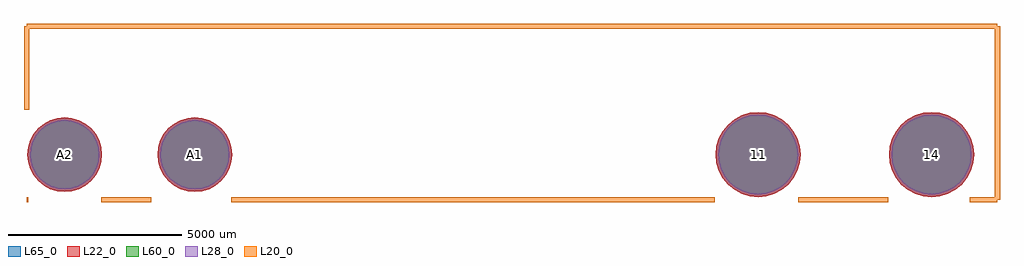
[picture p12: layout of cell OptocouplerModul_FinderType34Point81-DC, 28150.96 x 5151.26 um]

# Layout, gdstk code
import gdstk
lib = gdstk.Library(unit=1e-6, precision=1e-09)
def P(c, l, *ps):  # polygons
    for p in ps: c.add(gdstk.Polygon(p, *l))
L20_0 = (20, 0)
L22_0 = (22, 0)
L28_0 = (28, 0)
L60_0 = (60, 0)
L65_0 = (65, 0)

optocouplermodul_findert = lib.new_cell('OptocouplerModul_FinderType34Point81-DC')
P(optocouplermodul_findert, L22_0, [(-11826.17,0),(-11846.816,209.623),(-11907.961,411.19),(-12007.254,596.955),(-12140.881,759.779),(-12303.705,893.406),(-12489.47,992.699),(-12691.037,1053.844),(-12900.66,1074.49),(-13110.283,1053.844),(-13311.85,992.699),(-13497.615,893.406),(-13660.439,759.779),(-13794.066,596.955),(-13893.359,411.19),(-13954.504,209.623),(-13975.15,0),(-13954.504,-209.623),(-13893.359,-411.19),(-13794.066,-596.955),(-13660.439,-759.779),(-13497.615,-893.406),(-13311.85,-992.699),(-13110.283,-1053.844),(-12900.66,-1074.49),(-12691.037,-1053.844),(-12489.47,-992.699),(-12303.705,-893.406),(-12140.881,-759.779),(-12007.254,-596.955),(-11907.961,-411.19),(-11846.816,-209.623)],
  [(-8074.59,0),(-8095.236,209.623),(-8156.381,411.19),(-8255.674,596.955),(-8389.301,759.779),(-8552.125,893.406),(-8737.89,992.699),(-8939.457,1053.844),(-9149.08,1074.49),(-9358.703,1053.844),(-9560.27,992.699),(-9746.035,893.406),(-9908.859,759.779),(-10042.486,596.955),(-10141.779,411.19),(-10202.924,209.623),(-10223.57,0),(-10202.924,-209.623),(-10141.779,-411.19),(-10042.486,-596.955),(-9908.859,-759.779),(-9746.035,-893.406),(-9560.27,-992.699),(-9358.703,-1053.844),(-9149.08,-1074.49),(-8939.457,-1053.844),(-8737.89,-992.699),(-8552.125,-893.406),(-8389.301,-759.779),(-8255.674,-596.955),(-8156.381,-411.19),(-8095.236,-209.623)],
  [(8324.92,0),(8301.37,239.107),(8231.625,469.024),(8118.366,680.918),(7965.944,866.644),(7780.218,1019.066),(7568.324,1132.325),(7338.407,1202.07),(7099.3,1225.62),(6860.193,1202.07),(6630.276,1132.325),(6418.382,1019.066),(6232.656,866.644),(6080.234,680.918),(5966.975,469.024),(5897.23,239.107),(5873.68,0),(5897.23,-239.107),(5966.975,-469.024),(6080.234,-680.918),(6232.656,-866.644),(6418.382,-1019.066),(6630.276,-1132.325),(6860.193,-1202.07),(7099.3,-1225.62),(7338.407,-1202.07),(7568.324,-1132.325),(7780.218,-1019.066),(7965.944,-866.644),(8118.366,-680.918),(8231.625,-469.024),(8301.37,-239.107)],
  [(13326.18,0),(13302.63,239.107),(13232.885,469.024),(13119.626,680.918),(12967.204,866.644),(12781.478,1019.066),(12569.584,1132.325),(12339.667,1202.07),(12100.56,1225.62),(11861.453,1202.07),(11631.536,1132.325),(11419.642,1019.066),(11233.916,866.644),(11081.494,680.918),(10968.235,469.024),(10898.49,239.107),(10874.94,0),(10898.49,-239.107),(10968.235,-469.024),(11081.494,-680.918),(11233.916,-866.644),(11419.642,-1019.066),(11631.536,-1132.325),(11861.453,-1202.07),(12100.56,-1225.62),(12339.667,-1202.07),(12569.584,-1132.325),(12781.478,-1019.066),(12967.204,-866.644),(13119.626,-680.918),(13232.885,-469.024),(13302.63,-239.107)])
P(optocouplermodul_findert, L28_0, [(-11901.17,0),(-11920.375,194.991),(-11977.252,382.488),(-12069.614,555.287),(-12193.914,706.746),(-12345.373,831.046),(-12518.172,923.408),(-12705.669,980.285),(-12900.66,999.49),(-13095.651,980.285),(-13283.148,923.408),(-13455.947,831.046),(-13607.406,706.746),(-13731.706,555.287),(-13824.068,382.488),(-13880.945,194.991),(-13900.15,0),(-13880.945,-194.991),(-13824.068,-382.488),(-13731.706,-555.287),(-13607.406,-706.746),(-13455.947,-831.046),(-13283.148,-923.408),(-13095.651,-980.285),(-12900.66,-999.49),(-12705.669,-980.285),(-12518.172,-923.408),(-12345.373,-831.046),(-12193.914,-706.746),(-12069.614,-555.287),(-11977.252,-382.488),(-11920.375,-194.991)],
  [(-8149.59,0),(-8168.795,194.991),(-8225.672,382.488),(-8318.034,555.287),(-8442.334,706.746),(-8593.793,831.046),(-8766.592,923.408),(-8954.089,980.285),(-9149.08,999.49),(-9344.071,980.285),(-9531.568,923.408),(-9704.367,831.046),(-9855.826,706.746),(-9980.126,555.287),(-10072.488,382.488),(-10129.365,194.991),(-10148.57,0),(-10129.365,-194.991),(-10072.488,-382.488),(-9980.126,-555.287),(-9855.826,-706.746),(-9704.367,-831.046),(-9531.568,-923.408),(-9344.071,-980.285),(-9149.08,-999.49),(-8954.089,-980.285),(-8766.592,-923.408),(-8593.793,-831.046),(-8442.334,-706.746),(-8318.034,-555.287),(-8225.672,-382.488),(-8168.795,-194.991)],
  [(8249.92,0),(8227.811,224.475),(8162.334,440.323),(8056.006,639.25),(7912.911,813.611),(7738.55,956.706),(7539.623,1063.034),(7323.775,1128.511),(7099.3,1150.62),(6874.825,1128.511),(6658.977,1063.034),(6460.05,956.706),(6285.689,813.611),(6142.594,639.25),(6036.266,440.323),(5970.789,224.475),(5948.68,0),(5970.789,-224.475),(6036.266,-440.323),(6142.594,-639.25),(6285.689,-813.611),(6460.05,-956.706),(6658.977,-1063.034),(6874.825,-1128.511),(7099.3,-1150.62),(7323.775,-1128.511),(7539.623,-1063.034),(7738.55,-956.706),(7912.911,-813.611),(8056.006,-639.25),(8162.334,-440.323),(8227.811,-224.475)],
  [(13251.18,0),(13229.071,224.475),(13163.594,440.323),(13057.266,639.25),(12914.171,813.611),(12739.81,956.706),(12540.883,1063.034),(12325.035,1128.511),(12100.56,1150.62),(11876.085,1128.511),(11660.237,1063.034),(11461.31,956.706),(11286.949,813.611),(11143.854,639.25),(11037.526,440.323),(10972.049,224.475),(10949.94,0),(10972.049,-224.475),(11037.526,-440.323),(11143.854,-639.25),(11286.949,-813.611),(11461.31,-956.706),(11660.237,-1063.034),(11876.085,-1128.511),(12100.56,-1150.62),(12325.035,-1128.511),(12540.883,-1063.034),(12739.81,-956.706),(12914.171,-813.611),(13057.266,-639.25),(13163.594,-440.323),(13229.071,-224.475)])
P(optocouplermodul_findert, L60_0, [(-11901.17,0),(-11920.375,194.991),(-11977.252,382.488),(-12069.614,555.287),(-12193.914,706.746),(-12345.373,831.046),(-12518.172,923.408),(-12705.669,980.285),(-12900.66,999.49),(-13095.651,980.285),(-13283.148,923.408),(-13455.947,831.046),(-13607.406,706.746),(-13731.706,555.287),(-13824.068,382.488),(-13880.945,194.991),(-13900.15,0),(-13880.945,-194.991),(-13824.068,-382.488),(-13731.706,-555.287),(-13607.406,-706.746),(-13455.947,-831.046),(-13283.148,-923.408),(-13095.651,-980.285),(-12900.66,-999.49),(-12705.669,-980.285),(-12518.172,-923.408),(-12345.373,-831.046),(-12193.914,-706.746),(-12069.614,-555.287),(-11977.252,-382.488),(-11920.375,-194.991)],
  [(-8149.59,0),(-8168.795,194.991),(-8225.672,382.488),(-8318.034,555.287),(-8442.334,706.746),(-8593.793,831.046),(-8766.592,923.408),(-8954.089,980.285),(-9149.08,999.49),(-9344.071,980.285),(-9531.568,923.408),(-9704.367,831.046),(-9855.826,706.746),(-9980.126,555.287),(-10072.488,382.488),(-10129.365,194.991),(-10148.57,0),(-10129.365,-194.991),(-10072.488,-382.488),(-9980.126,-555.287),(-9855.826,-706.746),(-9704.367,-831.046),(-9531.568,-923.408),(-9344.071,-980.285),(-9149.08,-999.49),(-8954.089,-980.285),(-8766.592,-923.408),(-8593.793,-831.046),(-8442.334,-706.746),(-8318.034,-555.287),(-8225.672,-382.488),(-8168.795,-194.991)],
  [(8249.92,0),(8227.811,224.475),(8162.334,440.323),(8056.006,639.25),(7912.911,813.611),(7738.55,956.706),(7539.623,1063.034),(7323.775,1128.511),(7099.3,1150.62),(6874.825,1128.511),(6658.977,1063.034),(6460.05,956.706),(6285.689,813.611),(6142.594,639.25),(6036.266,440.323),(5970.789,224.475),(5948.68,0),(5970.789,-224.475),(6036.266,-440.323),(6142.594,-639.25),(6285.689,-813.611),(6460.05,-956.706),(6658.977,-1063.034),(6874.825,-1128.511),(7099.3,-1150.62),(7323.775,-1128.511),(7539.623,-1063.034),(7738.55,-956.706),(7912.911,-813.611),(8056.006,-639.25),(8162.334,-440.323),(8227.811,-224.475)],
  [(13251.18,0),(13229.071,224.475),(13163.594,440.323),(13057.266,639.25),(12914.171,813.611),(12739.81,956.706),(12540.883,1063.034),(12325.035,1128.511),(12100.56,1150.62),(11876.085,1128.511),(11660.237,1063.034),(11461.31,956.706),(11286.949,813.611),(11143.854,639.25),(11037.526,440.323),(10972.049,224.475),(10949.94,0),(10972.049,-224.475),(11037.526,-440.323),(11143.854,-639.25),(11286.949,-813.611),(11461.31,-956.706),(11660.237,-1063.034),(11876.085,-1128.511),(12100.56,-1150.62),(12325.035,-1128.511),(12540.883,-1063.034),(12739.81,-956.706),(12914.171,-813.611),(13057.266,-639.25),(13163.594,-440.323),(13229.071,-224.475)])
P(optocouplermodul_findert, L65_0, [(-11826.17,0),(-11846.816,209.623),(-11907.961,411.19),(-12007.254,596.955),(-12140.881,759.779),(-12303.705,893.406),(-12489.47,992.699),(-12691.037,1053.844),(-12900.66,1074.49),(-13110.283,1053.844),(-13311.85,992.699),(-13497.615,893.406),(-13660.439,759.779),(-13794.066,596.955),(-13893.359,411.19),(-13954.504,209.623),(-13975.15,0),(-13954.504,-209.623),(-13893.359,-411.19),(-13794.066,-596.955),(-13660.439,-759.779),(-13497.615,-893.406),(-13311.85,-992.699),(-13110.283,-1053.844),(-12900.66,-1074.49),(-12691.037,-1053.844),(-12489.47,-992.699),(-12303.705,-893.406),(-12140.881,-759.779),(-12007.254,-596.955),(-11907.961,-411.19),(-11846.816,-209.623)],
  [(-8074.59,0),(-8095.236,209.623),(-8156.381,411.19),(-8255.674,596.955),(-8389.301,759.779),(-8552.125,893.406),(-8737.89,992.699),(-8939.457,1053.844),(-9149.08,1074.49),(-9358.703,1053.844),(-9560.27,992.699),(-9746.035,893.406),(-9908.859,759.779),(-10042.486,596.955),(-10141.779,411.19),(-10202.924,209.623),(-10223.57,0),(-10202.924,-209.623),(-10141.779,-411.19),(-10042.486,-596.955),(-9908.859,-759.779),(-9746.035,-893.406),(-9560.27,-992.699),(-9358.703,-1053.844),(-9149.08,-1074.49),(-8939.457,-1053.844),(-8737.89,-992.699),(-8552.125,-893.406),(-8389.301,-759.779),(-8255.674,-596.955),(-8156.381,-411.19),(-8095.236,-209.623)],
  [(8324.92,0),(8301.37,239.107),(8231.625,469.024),(8118.366,680.918),(7965.944,866.644),(7780.218,1019.066),(7568.324,1132.325),(7338.407,1202.07),(7099.3,1225.62),(6860.193,1202.07),(6630.276,1132.325),(6418.382,1019.066),(6232.656,866.644),(6080.234,680.918),(5966.975,469.024),(5897.23,239.107),(5873.68,0),(5897.23,-239.107),(5966.975,-469.024),(6080.234,-680.918),(6232.656,-866.644),(6418.382,-1019.066),(6630.276,-1132.325),(6860.193,-1202.07),(7099.3,-1225.62),(7338.407,-1202.07),(7568.324,-1132.325),(7780.218,-1019.066),(7965.944,-866.644),(8118.366,-680.918),(8231.625,-469.024),(8301.37,-239.107)],
  [(13326.18,0),(13302.63,239.107),(13232.885,469.024),(13119.626,680.918),(12967.204,866.644),(12781.478,1019.066),(12569.584,1132.325),(12339.667,1202.07),(12100.56,1225.62),(11861.453,1202.07),(11631.536,1132.325),(11419.642,1019.066),(11233.916,866.644),(11081.494,680.918),(10968.235,469.024),(10898.49,239.107),(10874.94,0),(10898.49,-239.107),(10968.235,-469.024),(11081.494,-680.918),(11233.916,-866.644),(11419.642,-1019.066),(11631.536,-1132.325),(11861.453,-1202.07),(12100.56,-1225.62),(12339.667,-1202.07),(12569.584,-1132.325),(12781.478,-1019.066),(12967.204,-866.644),(13119.626,-680.918),(13232.885,-469.024),(13302.63,-239.107)])
optocouplermodul_findert.add(gdstk.FlexPath([(-14000.48,3700.78),(-14000.48,1300.48)], 149.998, ends="flush", simple_path=True, layer=20, datatype=0))  # L20_0
optocouplermodul_findert.add(gdstk.FlexPath([(14000.48,3700.78),(-14000.48,3700.78)], 149.998, ends="flush", simple_path=True, layer=20, datatype=0))  # L20_0
optocouplermodul_findert.add(gdstk.FlexPath([(14000.48,-1300.48),(14000.48,3700.78)], 149.998, ends="flush", simple_path=True, layer=20, datatype=0))  # L20_0
optocouplermodul_findert.add(gdstk.FlexPath([(-11849.1,-1300.48),(-10398.76,-1300.48)], 149.998, ends="flush", simple_path=True, layer=20, datatype=0))  # L20_0
optocouplermodul_findert.add(gdstk.FlexPath([(-8100.06,-1300.48),(0,-1300.48)], 149.998, ends="flush", simple_path=True, layer=20, datatype=0))  # L20_0
optocouplermodul_findert.add(gdstk.FlexPath([(0,-1300.48),(800.1,-1300.48)], 149.998, ends="flush", simple_path=True, layer=20, datatype=0))  # L20_0
optocouplermodul_findert.add(gdstk.FlexPath([(3149.6,-1300.48),(5849.62,-1300.48)], 149.998, ends="flush", simple_path=True, layer=20, datatype=0))  # L20_0
optocouplermodul_findert.add(gdstk.FlexPath([(8249.92,-1300.48),(10850.88,-1300.48)], 149.998, ends="flush", simple_path=True, layer=20, datatype=0))  # L20_0
optocouplermodul_findert.add(gdstk.FlexPath([(13200.38,-1300.48),(14000.48,-1300.48)], 149.998, ends="flush", simple_path=True, layer=20, datatype=0))  # L20_0
optocouplermodul_findert.add(gdstk.FlexPath([(-14000.48,-1300.48),(-13949.68,-1300.48)], 149.998, ends="flush", simple_path=True, layer=20, datatype=0))  # L20_0
optocouplermodul_findert.add(gdstk.FlexPath([(3299.46,-1300.48),(701.04,-1300.48)], 149.998, ends="flush", simple_path=True, layer=20, datatype=0))  # L20_0
optocouplermodul_findert.add(gdstk.Label('A2', (-12900.66,0), layer=28, texttype=0))
optocouplermodul_findert.add(gdstk.Label('A1', (-9149.08,0), layer=28, texttype=0))
optocouplermodul_findert.add(gdstk.Label('11', (7099.3,0), layer=28, texttype=0))
optocouplermodul_findert.add(gdstk.Label('14', (12100.56,0), layer=28, texttype=0))
optocouplermodul_findert.add(gdstk.Label('+', (7223.76,-2100.58), layer=9, texttype=0))
optocouplermodul_findert.add(gdstk.Label('A14', (12148.82,-2123.44), layer=9, texttype=0))
optocouplermodul_findert.add(gdstk.Label('A1+', (-9250.68,-2148.84), layer=9, texttype=0))
optocouplermodul_findert.add(gdstk.Label('A2-', (-13101.32,-2197.1), layer=9, texttype=0))
optocouplermodul_findert.add(gdstk.Label('type', (1270,-5080), layer=9, texttype=0))
optocouplermodul_findert.add(gdstk.Label('devicename', (0,5080), layer=9, texttype=0))

lib.write_gds('OptocouplerModul_FinderType34Point81-DC.gds')
